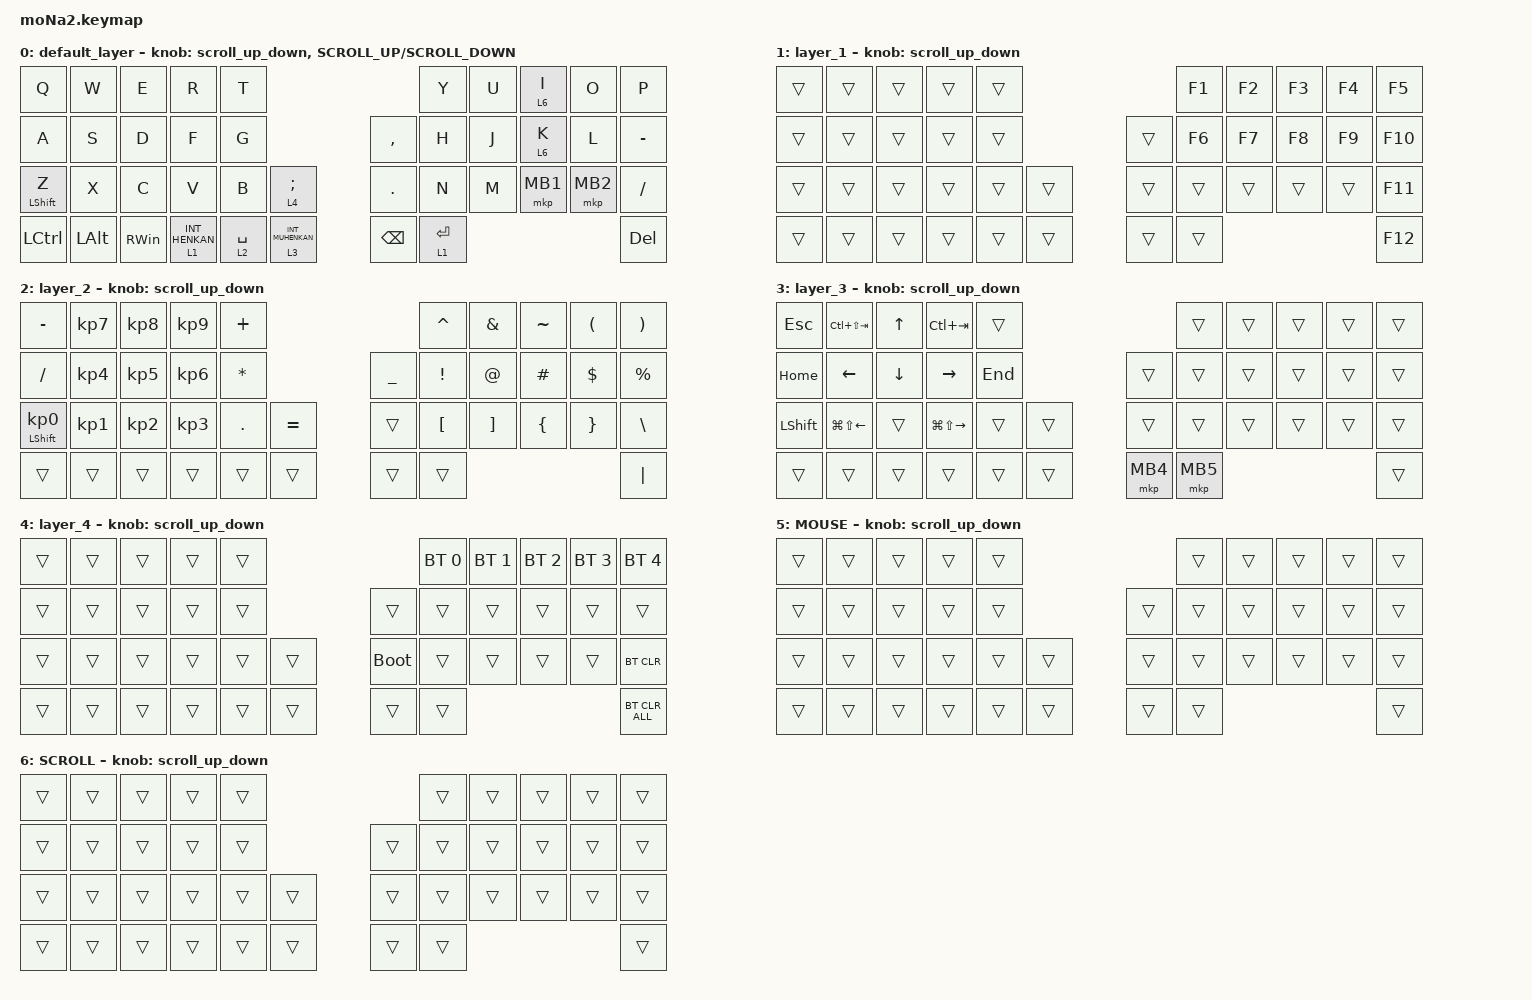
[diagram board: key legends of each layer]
#include <behaviors.dtsi>
#include <dt-bindings/zmk/bt.h>
#include <dt-bindings/zmk/keys.h>
#include <dt-bindings/zmk/pointing.h>

#undef ZMK_POINTING_DEFAULT_SCRL_VAL
#define ZMK_POINTING_DEFAULT_SCRL_VAL 100
#define MOUSE 5
#define SCROLL 6

&mt {
    flavor = "balanced";
    quick-tap-ms = <0>;
};

/ {
    combos {
        compatible = "zmk,combos";

        tab {
            bindings = <&kp TAB>;
            key-positions = <11 12>;
        };

        backtab {
            bindings = <&kp LS(TAB)>;
            key-positions = <12 13>;
        };
    };

    macros {
        to_layer_0: to_layer_0 {
            compatible = "zmk,behavior-macro-one-param";
            #binding-cells = <1>;
            bindings = <&to 0 &macro_param_1to1 &kp MACRO_PLACEHOLDER>;
            label = "TO_LAYER_0";
        };
    };

    behaviors {
        lt_to_layer_0: lt_to_layer_0 {
            compatible = "zmk,behavior-hold-tap";
            label = "LAYER_TAP_TO_0";
            bindings = <&mo>, <&to_layer_0>;

            #binding-cells = <2>;
            tapping-term-ms = <200>;
        };

        scroll_up_down: behavior_sensor_rotate_mouse_wheel_up_down {
            compatible = "zmk,behavior-sensor-rotate";
            #sensor-binding-cells = <0>;
            bindings = <&msc SCRL_UP>, <&msc SCRL_DOWN>;

            tap-ms = <20>;
        };
    };

    keymap {
        compatible = "zmk,keymap";

        default_layer {
            bindings = <
&kp Q             &kp W         &kp E          &kp R             &kp T                                             &kp Y        &kp U  &lt 6 I   &kp O     &kp P
&kp A             &kp S         &kp D          &kp F             &kp G                              &kp COMMA      &kp H        &kp J  &lt 6 K   &kp L     &kp MINUS
&mt LEFT_SHIFT Z  &kp X         &kp C          &kp V             &kp B        &lt 4 SEMICOLON       &kp PERIOD     &kp N        &kp M  &mkp MB1  &mkp MB2  &kp SLASH
&kp LCTRL         &kp LEFT_ALT  &kp RIGHT_WIN  &lt 1 INT_HENKAN  &lt 2 SPACE  &lt 3 INT_MUHENKAN    &kp BACKSPACE  &lt 1 ENTER                             &kp DEL
            >;

            sensor-bindings =
                <&scroll_up_down>,
                <&inc_dec_kp K_SCROLL_UP K_SCROLL_DOWN>;
        };

        layer_1 {
            bindings = <
&trans  &trans  &trans  &trans  &trans                    &kp F1  &kp F2  &kp F3  &kp F4  &kp F5
&trans  &trans  &trans  &trans  &trans            &trans  &kp F6  &kp F7  &kp F8  &kp F9  &kp F10
&trans  &trans  &trans  &trans  &trans  &trans    &trans  &trans  &trans  &trans  &trans  &kp F11
&trans  &trans  &trans  &trans  &trans  &trans    &trans  &trans                          &kp F12
            >;

            sensor-bindings = <&scroll_up_down>;
        };

        layer_2 {
            bindings = <
&kp MINUS                   &kp KP_NUMBER_7  &kp KP_NUMBER_8  &kp KP_NUMBER_9  &kp PLUS                                   &kp CARET         &kp AMPERSAND      &kp TILDE       &kp LEFT_PARENTHESIS  &kp RIGHT_PARENTHESIS
&kp SLASH                   &kp KP_NUMBER_4  &kp KP_NUMBER_5  &kp KP_NUMBER_6  &kp ASTERISK               &kp UNDERSCORE  &kp EXCLAMATION   &kp AT_SIGN        &kp HASH        &kp DOLLAR            &kp PERCENT
&mt LEFT_SHIFT KP_NUMBER_0  &kp KP_NUMBER_1  &kp KP_NUMBER_2  &kp KP_NUMBER_3  &kp PERIOD    &kp EQUAL    &trans          &kp LEFT_BRACKET  &kp RIGHT_BRACKET  &kp LEFT_BRACE  &kp RIGHT_BRACE       &kp BACKSLASH
&trans                      &trans           &trans           &trans           &trans        &trans       &trans          &trans                                                                     &kp PIPE
            >;

            sensor-bindings = <&scroll_up_down>;
        };

        layer_3 {
            bindings = <
&kp ESCAPE      &kp LC(LS(TAB))         &kp UP_ARROW    &kp LC(TAB)              &trans                       &trans    &trans  &trans  &trans  &trans
&kp HOME        &kp LEFT_ARROW          &kp DOWN_ARROW  &kp RIGHT_ARROW          &kp END            &trans    &trans    &trans  &trans  &trans  &trans
&kp LEFT_SHIFT  &kp LG(LS(LEFT_ARROW))  &trans          &kp LG(LS(RIGHT_ARROW))  &trans   &trans    &trans    &trans    &trans  &trans  &trans  &trans
&trans          &trans                  &trans          &trans                   &trans   &trans    &mkp MB4  &mkp MB5                          &trans
            >;

            sensor-bindings = <&scroll_up_down>;
        };

        layer_4 {
            bindings = <
&trans  &trans  &trans  &trans  &trans                         &bt BT_SEL 0  &bt BT_SEL 1  &bt BT_SEL 2  &bt BT_SEL 3  &bt BT_SEL 4
&trans  &trans  &trans  &trans  &trans            &trans       &trans        &trans        &trans        &trans        &trans
&trans  &trans  &trans  &trans  &trans  &trans    &bootloader  &trans        &trans        &trans        &trans        &bt BT_CLR
&trans  &trans  &trans  &trans  &trans  &trans    &trans       &trans                                                  &bt BT_CLR_ALL
            >;

            sensor-bindings = <&scroll_up_down>;
        };

        MOUSE {
            bindings = <
&trans  &trans  &trans  &trans  &trans                    &trans  &trans  &trans  &trans  &trans
&trans  &trans  &trans  &trans  &trans            &trans  &trans  &trans  &trans  &trans  &trans
&trans  &trans  &trans  &trans  &trans  &trans    &trans  &trans  &trans  &trans  &trans  &trans
&trans  &trans  &trans  &trans  &trans  &trans    &trans  &trans                          &trans
            >;

            sensor-bindings = <&scroll_up_down>;
        };

        SCROLL {
            bindings = <
&trans  &trans  &trans  &trans  &trans                    &trans  &trans  &trans  &trans  &trans
&trans  &trans  &trans  &trans  &trans            &trans  &trans  &trans  &trans  &trans  &trans
&trans  &trans  &trans  &trans  &trans  &trans    &trans  &trans  &trans  &trans  &trans  &trans
&trans  &trans  &trans  &trans  &trans  &trans    &trans  &trans                          &trans
            >;

            sensor-bindings = <&scroll_up_down>;
        };
    };
};
